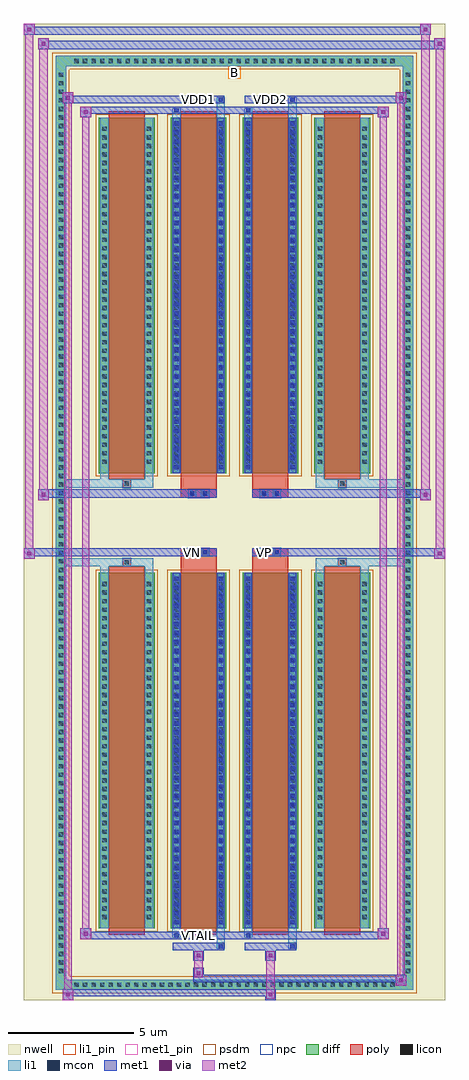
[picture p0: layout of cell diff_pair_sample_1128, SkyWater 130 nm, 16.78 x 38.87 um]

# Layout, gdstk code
import gdstk
lib = gdstk.Library(unit=1e-6, precision=5e-09)
def R(c, l, rs):  # rectangles x0, y0, x1, y1
    for r in rs: c.add(gdstk.rectangle(r[:2], r[2:], *l))
def A(c, l, x, y, w, h, nx, ny, dx, dy):  # array of equal rectangles
    R(c, l, [(x+i*dx, y+j*dy, x+i*dx+w, y+j*dy+h) for i in range(nx) for j in range(ny)])
def P(c, l, *ps):  # polygons
    for p in ps: c.add(gdstk.Polygon(p, *l))
nwell = (64, 20)
diff = (65, 20)
poly = (66, 20)
licon = (66, 44)
li1_pin = (67, 16)
li1 = (67, 20)
mcon = (67, 44)
met1_pin = (68, 16)
met1 = (68, 20)
via = (68, 44)
met2 = (69, 20)
psdm = (94, 20)
npc = (95, 20)

diff_pair_sample_1128 = lib.new_cell('diff_pair_sample_1128')
R(diff_pair_sample_1128, nwell, [(-8.39,-19,8.39,19.87), (-5.71,-17.19,-0.01,-0.805), (0.01,-17.19,5.71,-0.805), (-5.71,0.805,-0.01,17.19), (0.01,0.805,5.71,17.19)])
A(diff_pair_sample_1128, diff, -6.495, -18.6, 0.41, 0.41, 38, 2, 0.34, 36.79)
A(diff_pair_sample_1128, diff, -7.12, -18.055, 0.41, 0.41, 1, 106, 0, 0.34)
A(diff_pair_sample_1128, diff, 6.71, -18.055, 0.41, 0.41, 1, 106, 0, 0.34)
A(diff_pair_sample_1128, diff, -5.4, -16.145, 2.22, 14.16, 4, 2, 2.86, 18.13)
R(diff_pair_sample_1128, diff, [(-6.495,-18.6,6.495,-18.19), (-7.12,-18.055,-6.71,18.055), (6.71,-18.055,7.12,18.055), (-6.495,18.19,6.495,18.6)])
P(diff_pair_sample_1128, diff, [(7.12,18.6),(-7.12,18.6),(-7.12,-18.19),(-6.71,-18.19),(-6.71,18.19),(6.71,18.19),(6.71,-18.19),(-6.71,-18.19),(-7.12,-18.19),(-7.12,-18.6),(7.12,-18.6)])
A(diff_pair_sample_1128, poly, -5.01, -16.395, 1.44, 14.66, 4, 2, 2.86, 18.13)
R(diff_pair_sample_1128, poly, [(-4.455,-1.735,-4.125,-1.405), (-4.455,-1.735,-4.125,-1.405), (-2.15,-1.735,-0.71,-1.335), (0.71,-1.735,2.15,-1.335), (4.125,-1.735,4.455,-1.405), (4.125,-1.735,4.455,-1.405), (-2.15,-1.335,-0.71,-1.005), (-1.845,-1.335,-1.515,-1.005), (-1.345,-1.335,-1.015,-1.005), (0.71,-1.335,2.15,-1.005), (1.015,-1.335,1.345,-1.005), (1.515,-1.335,1.845,-1.005), (-2.15,1.005,-0.71,1.335), (-1.845,1.005,-1.515,1.335), (-1.345,1.005,-1.015,1.335), (0.71,1.005,2.15,1.335), (1.015,1.005,1.345,1.335), (1.515,1.005,1.845,1.335), (-2.15,1.335,-0.71,1.735), (0.71,1.335,2.15,1.735), (-4.455,1.405,-4.125,1.735), (-4.455,1.405,-4.125,1.735), (4.125,1.405,4.455,1.735), (4.125,1.405,4.455,1.735)])
A(diff_pair_sample_1128, licon, -6.375, -18.48, 0.17, 0.17, 38, 2, 0.34, 36.79)
A(diff_pair_sample_1128, licon, -7, -17.935, 0.17, 0.17, 1, 106, 0, 0.34)
A(diff_pair_sample_1128, licon, 6.83, -17.935, 0.17, 0.17, 1, 106, 0, 0.34)
A(diff_pair_sample_1128, licon, -5.26, -15.78, 0.17, 0.17, 1, 40, 0, 0.34)
A(diff_pair_sample_1128, licon, -3.49, -15.78, 0.17, 0.17, 1, 40, 0, 0.34)
A(diff_pair_sample_1128, licon, -2.4, -15.78, 0.17, 0.17, 1, 40, 0, 0.34)
A(diff_pair_sample_1128, licon, -0.63, -15.78, 0.17, 0.17, 1, 40, 0, 0.34)
A(diff_pair_sample_1128, licon, 0.46, -15.78, 0.17, 0.17, 1, 40, 0, 0.34)
A(diff_pair_sample_1128, licon, 2.23, -15.78, 0.17, 0.17, 1, 40, 0, 0.34)
A(diff_pair_sample_1128, licon, 3.32, -15.78, 0.17, 0.17, 1, 40, 0, 0.34)
A(diff_pair_sample_1128, licon, 5.09, -15.78, 0.17, 0.17, 1, 40, 0, 0.34)
A(diff_pair_sample_1128, licon, -5.26, 2.35, 0.17, 0.17, 1, 40, 0, 0.34)
A(diff_pair_sample_1128, licon, -3.49, 2.35, 0.17, 0.17, 1, 40, 0, 0.34)
A(diff_pair_sample_1128, licon, -2.4, 2.35, 0.17, 0.17, 1, 40, 0, 0.34)
A(diff_pair_sample_1128, licon, -0.63, 2.35, 0.17, 0.17, 1, 40, 0, 0.34)
A(diff_pair_sample_1128, licon, 0.46, 2.35, 0.17, 0.17, 1, 40, 0, 0.34)
A(diff_pair_sample_1128, licon, 2.23, 2.35, 0.17, 0.17, 1, 40, 0, 0.34)
A(diff_pair_sample_1128, licon, 3.32, 2.35, 0.17, 0.17, 1, 40, 0, 0.34)
A(diff_pair_sample_1128, licon, 5.09, 2.35, 0.17, 0.17, 1, 40, 0, 0.34)
R(diff_pair_sample_1128, licon, [(-4.375,-1.655,-4.205,-1.485), (4.205,-1.655,4.375,-1.485), (-1.765,-1.255,-1.595,-1.085), (-1.265,-1.255,-1.095,-1.085), (1.095,-1.255,1.265,-1.085), (1.595,-1.255,1.765,-1.085), (-1.765,1.085,-1.595,1.255), (-1.265,1.085,-1.095,1.255), (1.095,1.085,1.265,1.255), (1.595,1.085,1.765,1.255), (-4.375,1.485,-4.205,1.655), (4.205,1.485,4.375,1.655)])
R(diff_pair_sample_1128, li1_pin, [(-0.25,17.69,0.25,18.19)])
A(diff_pair_sample_1128, li1, -6.455, -18.56, 0.33, 0.33, 38, 2, 0.34, 36.79)
A(diff_pair_sample_1128, li1, -7.08, -18.015, 0.33, 0.33, 1, 106, 0, 0.34)
A(diff_pair_sample_1128, li1, 6.75, -18.015, 0.33, 0.33, 1, 106, 0, 0.34)
A(diff_pair_sample_1128, li1, -2.4, -15.99, 0.17, 0.17, 1, 39, 0, 0.36)
A(diff_pair_sample_1128, li1, -0.63, -15.99, 0.17, 0.17, 1, 39, 0, 0.36)
A(diff_pair_sample_1128, li1, 0.46, -15.99, 0.17, 0.17, 1, 39, 0, 0.36)
A(diff_pair_sample_1128, li1, 2.23, -15.99, 0.17, 0.17, 1, 39, 0, 0.36)
A(diff_pair_sample_1128, li1, -5.34, -15.86, 0.33, 0.33, 1, 40, 0, 0.34)
A(diff_pair_sample_1128, li1, -3.57, -15.86, 0.33, 0.33, 1, 40, 0, 0.34)
A(diff_pair_sample_1128, li1, -2.48, -15.86, 0.33, 0.33, 1, 40, 0, 0.34)
A(diff_pair_sample_1128, li1, -0.71, -15.86, 0.33, 0.33, 1, 40, 0, 0.34)
A(diff_pair_sample_1128, li1, 0.38, -15.86, 0.33, 0.33, 1, 40, 0, 0.34)
A(diff_pair_sample_1128, li1, 2.15, -15.86, 0.33, 0.33, 1, 40, 0, 0.34)
A(diff_pair_sample_1128, li1, 3.24, -15.86, 0.33, 0.33, 1, 40, 0, 0.34)
A(diff_pair_sample_1128, li1, 5.01, -15.86, 0.33, 0.33, 1, 40, 0, 0.34)
A(diff_pair_sample_1128, li1, -2.4, 2.14, 0.17, 0.17, 1, 39, 0, 0.36)
A(diff_pair_sample_1128, li1, -0.63, 2.14, 0.17, 0.17, 1, 39, 0, 0.36)
A(diff_pair_sample_1128, li1, 0.46, 2.14, 0.17, 0.17, 1, 39, 0, 0.36)
A(diff_pair_sample_1128, li1, 2.23, 2.14, 0.17, 0.17, 1, 39, 0, 0.36)
A(diff_pair_sample_1128, li1, -5.34, 2.27, 0.33, 0.33, 1, 40, 0, 0.34)
A(diff_pair_sample_1128, li1, -3.57, 2.27, 0.33, 0.33, 1, 40, 0, 0.34)
A(diff_pair_sample_1128, li1, -2.48, 2.27, 0.33, 0.33, 1, 40, 0, 0.34)
A(diff_pair_sample_1128, li1, -0.71, 2.27, 0.33, 0.33, 1, 40, 0, 0.34)
A(diff_pair_sample_1128, li1, 0.38, 2.27, 0.33, 0.33, 1, 40, 0, 0.34)
A(diff_pair_sample_1128, li1, 2.15, 2.27, 0.33, 0.33, 1, 40, 0, 0.34)
A(diff_pair_sample_1128, li1, 3.24, 2.27, 0.33, 0.33, 1, 40, 0, 0.34)
A(diff_pair_sample_1128, li1, 5.01, 2.27, 0.33, 0.33, 1, 40, 0, 0.34)
R(diff_pair_sample_1128, li1, [(-7.12,-18.6,-6.71,-18.19), (-7.12,-18.6,-6.71,-18.19), (-6.71,-18.6,6.71,-18.19), (6.71,-18.6,7.12,-18.19), (6.71,-18.6,7.12,-18.19), (-7.12,-18.19,-6.71,18.19), (6.71,-18.19,7.12,18.19), (-0.71,-16.95,-0.38,-16.145), (-0.63,-16.95,-0.46,-16.78), (2.15,-16.95,2.48,-16.145), (2.23,-16.95,2.4,-16.78), (-2.48,-16.52,-2.15,-16.145), (-2.4,-16.52,-2.23,-16.35), (0.38,-16.52,0.71,-16.145), (0.46,-16.52,0.63,-16.35), (-5.34,-16.145,-5.01,-1.985), (-3.57,-16.145,-3.24,-1.985), (-2.48,-16.145,-2.15,-1.985), (-0.71,-16.145,-0.38,-1.985), (0.38,-16.145,0.71,-1.985), (2.15,-16.145,2.48,-1.985), (3.24,-16.145,3.57,-1.985), (5.01,-16.145,5.34,-1.985), (-2.4,-15.99,-2.23,-2.14), (-0.63,-15.99,-0.46,-2.14), (0.46,-15.99,0.63,-2.14), (2.23,-15.99,2.4,-2.14), (-5.34,-1.985,-5.01,-1.405), (-3.57,-1.985,-3.24,-1.405), (3.24,-1.985,3.57,-1.405), (5.01,-1.985,5.34,-1.405), (-7.12,-1.735,-4.455,-1.405), (-5.34,-1.735,-4.455,-1.405), (-4.455,-1.735,-4.125,-1.405), (-4.125,-1.735,-3.24,-1.405), (3.24,-1.735,4.125,-1.405), (4.125,-1.735,4.455,-1.405), (4.125,-1.735,7.12,-1.405), (4.455,-1.735,5.34,-1.405), (-1.845,-1.335,-1.515,-1.005), (-1.345,-1.335,-1.015,-1.005), (1.015,-1.335,1.345,-1.005), (1.515,-1.335,1.845,-1.005), (-1.845,1.005,-1.515,1.335), (-1.345,1.005,-1.015,1.335), (1.015,1.005,1.345,1.335), (1.515,1.005,1.845,1.335), (-7.12,1.405,-4.455,1.735), (-5.34,1.405,-4.455,1.735), (-5.34,1.405,-5.01,1.985), (-4.455,1.405,-4.125,1.735), (-4.125,1.405,-3.24,1.735), (-3.57,1.405,-3.24,1.985), (3.24,1.405,4.125,1.735), (3.24,1.405,3.57,1.985), (4.125,1.405,4.455,1.735), (4.125,1.405,7.12,1.735), (4.455,1.405,5.34,1.735), (5.01,1.405,5.34,1.985), (-5.34,1.985,-5.01,16.145), (-3.57,1.985,-3.24,16.145), (-2.48,1.985,-2.15,16.145), (-0.71,1.985,-0.38,16.145), (0.38,1.985,0.71,16.145), (2.15,1.985,2.48,16.145), (3.24,1.985,3.57,16.145), (5.01,1.985,5.34,16.145), (-2.4,2.14,-2.23,15.99), (-0.63,2.14,-0.46,15.99), (0.46,2.14,0.63,15.99), (2.23,2.14,2.4,15.99), (-2.48,16.145,-2.15,16.52), (-0.71,16.145,-0.38,16.95), (0.38,16.145,0.71,16.52), (2.15,16.145,2.48,16.95), (-2.4,16.35,-2.23,16.52), (0.46,16.35,0.63,16.52), (-0.63,16.78,-0.46,16.95), (2.23,16.78,2.4,16.95), (-7.12,18.19,-6.71,18.6), (-7.12,18.19,-6.71,18.6), (-6.71,18.19,6.71,18.6), (6.71,18.19,7.12,18.6), (6.71,18.19,7.12,18.6)])
A(diff_pair_sample_1128, mcon, -2.4, -15.99, 0.17, 0.17, 1, 39, 0, 0.36)
A(diff_pair_sample_1128, mcon, -0.63, -15.99, 0.17, 0.17, 1, 39, 0, 0.36)
A(diff_pair_sample_1128, mcon, 0.46, -15.99, 0.17, 0.17, 1, 39, 0, 0.36)
A(diff_pair_sample_1128, mcon, 2.23, -15.99, 0.17, 0.17, 1, 39, 0, 0.36)
A(diff_pair_sample_1128, mcon, -2.4, 2.14, 0.17, 0.17, 1, 39, 0, 0.36)
A(diff_pair_sample_1128, mcon, -0.63, 2.14, 0.17, 0.17, 1, 39, 0, 0.36)
A(diff_pair_sample_1128, mcon, 0.46, 2.14, 0.17, 0.17, 1, 39, 0, 0.36)
A(diff_pair_sample_1128, mcon, 2.23, 2.14, 0.17, 0.17, 1, 39, 0, 0.36)
R(diff_pair_sample_1128, mcon, [(-0.63,-16.95,-0.46,-16.78), (2.23,-16.95,2.4,-16.78), (-2.4,-16.52,-2.23,-16.35), (0.46,-16.52,0.63,-16.35), (-1.765,-1.255,-1.595,-1.085), (-1.265,-1.255,-1.095,-1.085), (1.095,-1.255,1.265,-1.085), (1.595,-1.255,1.765,-1.085), (-1.765,1.085,-1.595,1.255), (-1.265,1.085,-1.095,1.255), (1.095,1.085,1.265,1.255), (1.595,1.085,1.765,1.255), (-2.4,16.35,-2.23,16.52), (0.46,16.35,0.63,16.52), (-0.63,16.78,-0.46,16.95), (2.23,16.78,2.4,16.95)])
R(diff_pair_sample_1128, met1_pin, [(-1.565,-16.56,-1.295,-16.29), (-1.815,-1.295,-1.545,-1.025), (1.045,-1.295,1.315,-1.025), (-1.565,16.74,-1.295,17.01), (1.295,16.74,1.565,17.01)])
A(diff_pair_sample_1128, met1, -2.46, -16.05, 0.29, 0.29, 1, 39, 0, 0.36)
A(diff_pair_sample_1128, met1, -0.69, -16.05, 0.29, 0.29, 1, 39, 0, 0.36)
A(diff_pair_sample_1128, met1, 0.4, -16.05, 0.29, 0.29, 1, 39, 0, 0.36)
A(diff_pair_sample_1128, met1, 2.17, -16.05, 0.29, 0.29, 1, 39, 0, 0.36)
A(diff_pair_sample_1128, met1, -2.46, 2.08, 0.29, 0.29, 1, 39, 0, 0.36)
A(diff_pair_sample_1128, met1, -0.69, 2.08, 0.29, 0.29, 1, 39, 0, 0.36)
A(diff_pair_sample_1128, met1, 0.4, 2.08, 0.29, 0.29, 1, 39, 0, 0.36)
A(diff_pair_sample_1128, met1, 2.17, 2.08, 0.29, 0.29, 1, 39, 0, 0.36)
R(diff_pair_sample_1128, met1, [(-6.85,-19,-6.42,-18.57), (1.215,-19,1.645,-18.57), (-6.85,-18.86,1.645,-18.57), (6.42,-18.43,6.85,-18), (-1.645,-18.29,6.85,-18), (-1.645,-18.15,-1.215,-17.72), (-1.645,-17.44,-1.215,-17.01), (1.215,-17.44,1.645,-17.01), (-2.46,-17.01,-0.4,-16.72), (-0.69,-17.01,-0.4,-16.72), (0.4,-17.01,2.46,-16.72), (2.17,-17.01,2.46,-16.72), (-6.14,-16.58,-5.71,-16.15), (-6.14,-16.58,-2.46,-16.29), (-2.46,-16.58,-2.17,-16.29), (-2.46,-16.58,-0.4,-16.29), (-0.4,-16.58,0.4,-16.29), (0.4,-16.58,0.69,-16.29), (0.4,-16.58,2.46,-16.29), (2.46,-16.58,6.14,-16.29), (5.71,-16.58,6.14,-16.15), (-2.46,-16.145,-2.17,-1.985), (-0.69,-16.145,-0.4,-1.985), (0.4,-16.145,0.69,-1.985), (2.17,-16.145,2.46,-1.985), (-8.39,-1.435,-7.96,-1.005), (7.96,-1.435,8.39,-1.005), (-8.39,-1.335,-0.71,-1.005), (-2.15,-1.335,-0.71,-1.005), (0.71,-1.335,2.15,-1.005), (0.71,-1.335,8.39,-1.005), (-1.825,-1.315,-1.535,-1.025), (-1.325,-1.315,-1.035,-1.025), (1.035,-1.315,1.325,-1.025), (1.535,-1.315,1.825,-1.025), (-7.82,0.905,-7.39,1.335), (7.39,0.905,7.82,1.335), (-7.82,1.005,-2.15,1.335), (-2.15,1.005,-0.71,1.335), (0.71,1.005,2.15,1.335), (2.15,1.005,7.82,1.335), (-1.825,1.025,-1.535,1.315), (-1.325,1.025,-1.035,1.315), (1.035,1.025,1.325,1.315), (1.535,1.025,1.825,1.315), (-2.46,1.985,-2.17,16.145), (-0.69,1.985,-0.4,16.145), (0.4,1.985,0.69,16.145), (2.17,1.985,2.46,16.145), (-6.14,16.15,-5.71,16.58), (5.71,16.15,6.14,16.58), (-6.14,16.29,-2.46,16.58), (-2.46,16.29,-2.17,16.58), (-2.46,16.29,-0.4,16.58), (-0.4,16.29,0.4,16.58), (0.4,16.29,0.69,16.58), (0.4,16.29,2.46,16.58), (2.46,16.29,6.14,16.58), (-6.85,16.72,-6.42,17.15), (-6.85,16.72,-2.46,17.01), (-2.46,16.72,-0.4,17.01), (-0.69,16.72,-0.4,17.01), (0.4,16.72,2.46,17.01), (2.17,16.72,2.46,17.01), (2.46,16.72,6.85,17.01), (6.42,16.72,6.85,17.15), (-7.82,18.87,-7.39,19.3), (-7.82,18.87,-5.71,19.2), (-5.71,18.87,5.71,19.2), (5.71,18.87,8.39,19.2), (7.96,18.87,8.39,19.3), (-8.39,19.44,-7.96,19.87), (-8.39,19.44,-5.71,19.77), (-5.71,19.44,5.71,19.77), (5.71,19.44,7.82,19.77), (7.39,19.44,7.82,19.87)])
R(diff_pair_sample_1128, via, [(-6.71,-18.86,-6.56,-18.71), (1.355,-18.86,1.505,-18.71), (6.56,-18.29,6.71,-18.14), (-1.505,-18.01,-1.355,-17.86), (-1.505,-17.3,-1.355,-17.15), (1.355,-17.3,1.505,-17.15), (-6,-16.44,-5.85,-16.29), (5.85,-16.44,6,-16.29), (-8.25,-1.295,-8.1,-1.145), (8.1,-1.295,8.25,-1.145), (-7.68,1.045,-7.53,1.195), (7.53,1.045,7.68,1.195), (-6,16.29,-5.85,16.44), (5.85,16.29,6,16.44), (-6.71,16.86,-6.56,17.01), (6.56,16.86,6.71,17.01), (-7.68,19.01,-7.53,19.16), (8.1,19.01,8.25,19.16), (-8.25,19.58,-8.1,19.73), (7.53,19.58,7.68,19.73)])
R(diff_pair_sample_1128, met2, [(-6.85,-19,-6.42,-18.57), (-6.78,-19,-6.49,17.15), (-6.49,-19,-6.42,-18.57), (-6.8,-18.95,-6.47,-18.62), (1.265,-18.95,1.595,-18.62), (1.265,-18.62,1.595,-17.39), (6.42,-18.43,6.85,-18), (6.49,-18.43,6.78,17.15), (6.78,-18.43,6.85,-18), (6.47,-18.38,6.8,-18.05), (-1.595,-18.1,-1.265,-17.77), (-1.595,-17.77,-1.265,-17.39), (-1.595,-17.39,-1.265,-17.06), (1.265,-17.39,1.595,-17.06), (-6.14,-16.58,-5.71,-16.15), (-6.07,-16.58,-5.78,16.58), (-5.78,-16.58,-5.71,-16.15), (5.71,-16.58,6.14,-16.15), (5.78,-16.58,6.07,16.58), (6.07,-16.58,6.14,-16.15), (-6.09,-16.53,-5.76,-16.2), (5.76,-16.53,6.09,-16.2), (-8.39,-1.435,-7.96,-1.005), (-8.34,-1.435,-8.01,19.87), (-8.01,-1.435,-7.96,-1.005), (7.96,-1.435,8.39,-1.005), (8.01,-1.435,8.34,19.3), (8.34,-1.435,8.39,-1.005), (-8.34,-1.385,-8.01,-1.055), (8.01,-1.385,8.34,-1.055), (-7.82,0.905,-7.39,1.335), (-7.77,0.905,-7.44,19.3), (-7.44,0.905,-7.39,1.335), (7.39,0.905,7.82,1.335), (7.44,0.905,7.77,19.87), (7.77,0.905,7.82,1.335), (-7.77,0.955,-7.44,1.285), (7.44,0.955,7.77,1.285), (-6.14,16.15,-5.71,16.58), (-5.78,16.15,-5.71,16.58), (5.71,16.15,6.14,16.58), (6.07,16.15,6.14,16.58), (-6.09,16.2,-5.76,16.53), (5.76,16.2,6.09,16.53), (-6.85,16.72,-6.42,17.15), (-6.49,16.72,-6.42,17.15), (6.42,16.72,6.85,17.15), (6.78,16.72,6.85,17.15), (-6.8,16.77,-6.47,17.1), (6.47,16.77,6.8,17.1), (-7.82,18.87,-7.39,19.3), (-7.44,18.87,-7.39,19.3), (7.96,18.87,8.39,19.3), (8.34,18.87,8.39,19.3), (-7.77,18.92,-7.44,19.25), (8.01,18.92,8.34,19.25), (-8.39,19.44,-7.96,19.87), (-8.01,19.44,-7.96,19.87), (7.39,19.44,7.82,19.87), (7.77,19.44,7.82,19.87), (-8.34,19.49,-8.01,19.82), (7.44,19.49,7.77,19.82)])
A(diff_pair_sample_1128, psdm, -5.53, -16.275, 2.48, 14.42, 4, 2, 2.86, 18.13)
P(diff_pair_sample_1128, psdm, [(7.25,18.73),(-7.25,18.73),(-7.25,-18.06),(-6.58,-18.06),(-6.58,18.06),(6.58,18.06),(6.58,-18.06),(-6.58,-18.06),(-7.25,-18.06),(-7.25,-18.73),(7.25,-18.73)])
R(diff_pair_sample_1128, npc, [(-4.475,-1.755,-4.105,-1.385), (4.105,-1.755,4.475,-1.385), (-1.865,-1.355,-1.495,-0.985), (-1.865,-1.355,-0.995,-0.985), (-1.865,-1.355,-0.995,-0.985), (-1.365,-1.355,-0.995,-0.985), (0.995,-1.355,1.365,-0.985), (0.995,-1.355,1.865,-0.985), (0.995,-1.355,1.865,-0.985), (1.495,-1.355,1.865,-0.985), (-1.865,0.985,-1.495,1.355), (-1.865,0.985,-0.995,1.355), (-1.865,0.985,-0.995,1.355), (-1.365,0.985,-0.995,1.355), (0.995,0.985,1.365,1.355), (0.995,0.985,1.865,1.355), (0.995,0.985,1.865,1.355), (1.495,0.985,1.865,1.355), (-4.475,1.385,-4.105,1.755), (4.105,1.385,4.475,1.755)])
diff_pair_sample_1128.add(gdstk.Label('VTAIL', (-1.43,-16.425), layer=68, texttype=5))
diff_pair_sample_1128.add(gdstk.Label('VN', (-1.68,-1.16), layer=68, texttype=5))
diff_pair_sample_1128.add(gdstk.Label('VP', (1.18,-1.16), layer=68, texttype=5))
diff_pair_sample_1128.add(gdstk.Label('B', (0,17.94), layer=67, texttype=5))
diff_pair_sample_1128.add(gdstk.Label('VDD2', (1.43,16.875), layer=68, texttype=5))
diff_pair_sample_1128.add(gdstk.Label('VDD1', (-1.43,16.875), layer=68, texttype=5))

lib.write_gds('diff_pair_sample_1128.gds')
